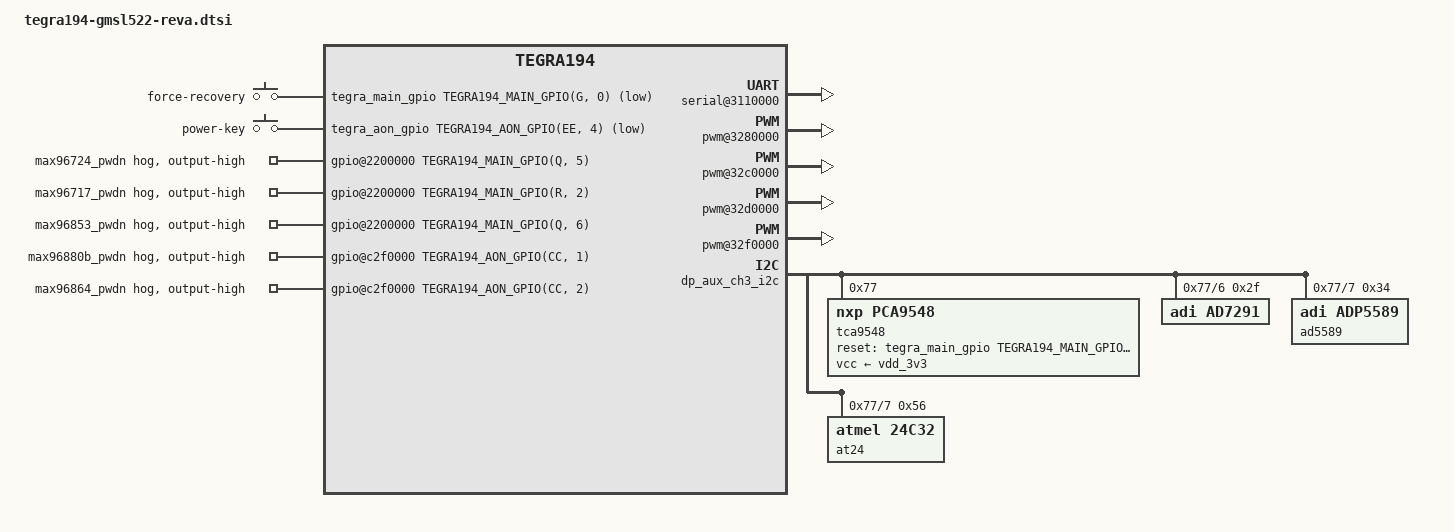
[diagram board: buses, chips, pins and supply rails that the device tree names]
/*
 * Copyright (c) 2023, Analog Devices Inc. All rights reserved.
 *
 * This program is free software; you can redistribute it and/or modify
 * it under the terms of the GNU General Public License as published by
 * the Free Software Foundation; version 2 of the License.
 *
 * This program is distributed in the hope that it will be useful, but WITHOUT
 * ANY WARRANTY; without even the implied warranty of MERCHANTABILITY or
 * FITNESS FOR A PARTICULAR PURPOSE.  See the GNU General Public License for
 * more details.
 */
#include <dt-bindings/gpio/tegra194-gpio.h>
#include "dt-bindings/input/input.h"
#include "tegra194-fixed-regulator-gmsl522-reva.dtsi"
#include "tegra194-p3509-disp.dtsi"
#include "tegra194-audio-p3668.dtsi"

#define CAMERA_I2C_MUX_BUS(x) (0x1E + x)

/ {
	gpio-keys {
		compatible = "gpio-keys";
		gpio-keys,name = "gpio-keys";

		forcerecovery {
			label = "force-recovery";
			gpios = <&tegra_main_gpio TEGRA194_MAIN_GPIO(G, 0) GPIO_ACTIVE_LOW>;
			linux,code = <BTN_1>;
		};

		power_key {
			label = "power-key";
			gpios = <&tegra_aon_gpio TEGRA194_AON_GPIO(EE, 4) GPIO_ACTIVE_LOW>;
			linux,code = <KEY_POWER>;
			gpio-key,wakeup;
		};
	};
	pwm-fan {
		pwms = <&tegra_pwm6 0 45334>;
		vdd-fan-supply = <&p3509_vdd_fan>;
		profiles {
			default = "quiet";
			quiet {
				state_cap = <4>;
				active_pwm = <0 130 160 200 255 255 255 255 255 255>;
			};
			cool {
				state_cap = <4>;
				active_pwm = <0 140 170 200 255 255 255 255 255 255>;
			};
		};
	};
	thermal-fan-est {
		profiles {
			default = "quiet";
			quiet {
				active_trip_temps = <0 46000 60000 68000 76000
						140000 150000 160000 170000 180000>;
				active_hysteresis = <0 8000 8000 7000 7000
						0 0 0 0 0>;
			};
			cool {
				active_trip_temps = <0 35000 45000 53000 61000
						140000 150000 160000 170000 180000>;
				active_hysteresis = <0 8000 8000 7000 7000
						0 0 0 0 0>;
			};
		};
	};

	/delete-node/ leds;
	/delete-node/ hdr40_i2c0;

	gpio@2200000 {
		max96724_pwdn {
			gpio-hog;
			output-high;
			gpios = <TEGRA194_MAIN_GPIO(Q, 5) 0>;
			label = "max96724_pwdn";
		};

		max96717_pwdn {
			gpio-hog;
			output-high;
			gpios = <TEGRA194_MAIN_GPIO(R, 2) 0>;
			label = "max96717_pwdn";
		};

		max96853_pwdn {
			gpio-hog;
			output-high;
			gpios = <TEGRA194_MAIN_GPIO(Q, 6) 0>;
			label = "max96853_pwdn";
		};
	};

	gpio@c2f0000 {
		max96880b_pwdn {
			gpio-hog;
			output-high;
			gpios = <TEGRA194_AON_GPIO(CC, 1) 0>;
			label = "max96880b_pwdn";
		};

		max96864_pwdn {
			gpio-hog;
			output-high;
			gpios = <TEGRA194_AON_GPIO(CC, 2) 0>;
			label = "max96864_pwdn";
		};
	};

	serial@3110000 {
		status = "okay";
	};

	tachometer@39c0000 {
		status = "okay";
	};

	pwm@3280000 {
		status = "okay";
	};

	pwm@32c0000 {
		status = "okay";
	};

	pwm@32d0000 {
		status = "okay";
	};

	pwm@32f0000 {
		status = "okay";
	};

	spi@c260000 {
		status = "disabled";
	};

	spi@3300000 {
		status = "disabled";
	};

	spi@3210000 {
		status = "disabled";
	};

	spi@3230000 {
		status = "disabled";
	};

	gpio@2200000 {
		gpio-line-names = "",   "",     "",     "",     "",     "",     "",     "",     "",     "",
		"",     "",     "",     "",     "",     "",     "",     "",     "",     "",
		"",     "",     "",     "",     "",     "",     "",     "",     "",     "",
		"",     "",     "",     "",     "",     "",     "",     "",     "",     "",
		"",     "",     "",     "",     "",     "",     "",     "",     "",     "",
		"",     "",     "",     "",     "",     "",     "",     "",     "",     "",
		"",     "",     "",     "",     "",     "",     "",     "",     "",     "",
		"",     "",     "",     "",     "",     "",     "",     "",     "",     "",
		"",     "",     "",     "",     "",     "",     "",     "",     "",     "",
		"",     "",     "",     "",     "",     "",     "",     "",     "",     "",
		"",     "",     "",     "",     "",     "",     "",     "",     "",     "",
		"",     "",     "",     "",     "",     "",     "",     "",     "",     "",
		"",     "",     "",     "",     "",     "",     "",     "",     "",     "",
		"",     "",     "",     "",     "",     "",     "",     "",     "",     "",
		"",     "",     "",     "",     "",     "",     "",     "",     "",     "",
		"",     "",     "",     "",     "",     "",     "",     "",     "",     "",
		"",     "",     "",     "",     "",     "",     "",     "",     "",     "",
		"",     "",     "",     "",     "",     "",     "",     "",     "",     "",
		"",     "",     "",     "",     "",     "",     "",     "",     "",     "",
		"",     "",     "",     "",     "",     "",     "",     "",     "",     "",
		"",     "",     "",     "",     "",     "",     "",     "",     "",     "",
		"",     "",     "",     "",     "",     "",     "",     "",     "",     "",
		"",     "",     "",     "";
	};

	gpio@c2f0000 {
		gpio-line-names = "",   "",     "",     "",     "",     "",     "",     "",     "",     "",
		"",     "",     "",     "",     "",     "",     "",     "",     "",     "",
		"", "",  "",     "",     "",     "",     "",     "",     "",     "",
		"",     "",     "",     "",     "",     "",     "",     "",     "",     "";
	};
};

&xusb_padctl {
	ports {
		usb2-0 {
			connector {
				vbus-gpio = <&tegra_main_gpio TEGRA194_MAIN_GPIO(Q, 3) GPIO_ACTIVE_LOW>;
			};
		};
	};
};

&gen1_i2c {
};

&gen2_i2c {
	//MAX96724
};

&cam_i2c {
	//QTH DESER
};

&dp_aux_ch3_i2c {
	tca9548: tca9548@77 {
		compatible = "nxp,pca9548";
		reg = <0x77>;
		#address-cells = <1>;
		#size-cells = <0>;
		vcc-supply = <&vdd_3v3>;
		reset-gpios = <&tegra_main_gpio TEGRA194_MAIN_GPIO(X, 4) GPIO_ACTIVE_LOW>;
		force_bus_start = <CAMERA_I2C_MUX_BUS(0)>;
		i2c-mux-idle-disconnect;
		i2c@0 {
			reg = <0>;
			i2c-mux,deselect-on-exit;
			#address-cells = <1>;
			#size-cells = <0>;
		};
		i2c@1 {
			reg = <1>;
			i2c-mux,deselect-on-exit;
			#address-cells = <1>;
			#size-cells = <0>;
		};
		i2c@2 {
			reg = <2>;
			i2c-mux,deselect-on-exit;
			#address-cells = <1>;
			#size-cells = <0>;
		};
		i2c@3 {
			reg = <3>;
			i2c-mux,deselect-on-exit;
			#address-cells = <1>;
			#size-cells = <0>;
		};
		i2c@4 {
			reg = <4>;
			i2c-mux,deselect-on-exit;
			#address-cells = <1>;
			#size-cells = <0>;
		};
		i2c@5 {
			reg = <5>;
			i2c-mux,deselect-on-exit;
			#address-cells = <1>;
			#size-cells = <0>;
			//MAX20087
		};
		i2c@6 {
			reg = <6>;
			i2c-mux,deselect-on-exit;
			#address-cells = <1>;
			#size-cells = <0>;

			ad7291@2f {
				compatible = "adi,ad7291";
				reg = <0x2f>;
			};

			pwmon@5a {
				compatible = "adi,adm1177";
				reg = <0x5a>;
				shunt-resistor-micro-ohms = <10000>; /* 10 mOhm */
				adi,shutdown-threshold-microamp = <10000000>; /* 10 A */
				adi,vrange-high-enable;
			};
		};
		i2c@7 {
			reg = <7>;
			i2c-mux,deselect-on-exit;
			#address-cells = <1>;
			#size-cells = <0>;

			ad5589@34 {
				compatible = "adi,adp5589";
				reg = <0x34>;
				#gpio-cells = <2>;
				gpio-controller;
			};

			at24@56 {
				compatible = "atmel,24c32";
				reg = <0x56>;
				pagesize = <32>;
			};
		};
	};
};
